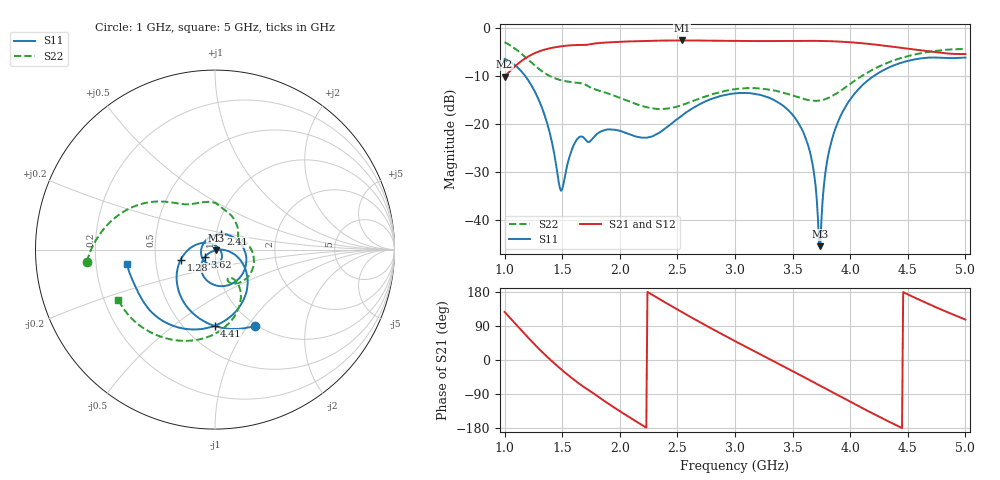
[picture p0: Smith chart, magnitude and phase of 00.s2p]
!Agilent Technologies,N5224A,MY51441093,A.09.90.21
!Agilent N5224A: A.09.90.21
!Date: Wednesday, October 01, 2025 16:35:27
!Correction: S11(Full 2 Port(1,2))
!S21(Full 2 Port(1,2))
!S12(Full 2 Port(1,2))
!S22(Full 2 Port(1,2))
!S2P File: Measurements: S11, S21, S12, S22:
# Hz S  dB  R 50
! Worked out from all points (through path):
!   401 points, 1 GHz to 5 GHz, reference 50 ohm
!   highest |S21| = -2.54 dB at 2.54 GHz (marker M1); lowest = -10.1 dB at 1 GHz (marker M2)
!   lowest |S11| = -45.4 dB at 3.74 GHz (marker M3), VSWR 1.01, Z = 50.4 - j0.376 ohm
!   |S11| at or under -10 dB: 1.181 GHz to 4.201 GHz (3.021 GHz wide, 112 % of centre)
!   |S22| runs from -16.8 to -2.9 dB; largest |S21 - S12| = 0.0035
!   S11 on the Smith chart (normalised r, x): 1 GHz: 0.98, -1.08; 1.28 GHz: 0.68, -0.08; 2.41 GHz: 1.05, +0.19; 3.62 GHz: 0.89, -0.07; 4.41 GHz: 0.69, -0.72; 5 GHz: 0.34, -0.07
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1e9  -6.40 -62.4  -10.10 126.8  -10.08 126.8  -2.88 -174.6
1.15e9  -9.08 -117.3  -6.75 76.9  -6.75 76.8  -5.39 155.6
1.28e9  -14.04 -163.8  -5.00 35.0  -5.00 35.0  -8.13 137.0
1.38e9  -20.67 158.5  -4.24 5.4  -4.24 5.3  -9.80 127.8
1.49e9  -33.84 52.4  -3.76 -24.4  -3.76 -24.4  -10.82 118.3
1.67e9  -22.55 -81.2  -3.50 -67.5  -3.49 -67.5  -11.47 95.3
1.94e9  -21.11 -129.8  -2.89 -123.2  -2.88 -123.2  -13.94 58.6
2.14e9  -22.54 169.3  -2.70 -161.9  -2.69 -161.9  -15.77 37.5
2.34e9  -21.80 92.3  -2.58 161.5  -2.57 161.5  -16.82 26.7
2.41e9  -20.57 68.9  -2.56 149.0  -2.55 149.1  -16.74 24.5
2.54e9  -18.18 33.5  -2.54 126.3  -2.53 126.3  -15.99 19.1
2.76e9  -15.05 -11.5  -2.58 89.0  -2.56 89.0  -14.05 2.2
3e9  -13.57 -52.1  -2.64 49.9  -2.62 49.9  -12.67 -22.7
3.31e9  -14.62 -99.6  -2.66 0.7  -2.64 0.7  -12.81 -54.1
3.62e9  -23.36 -144.7  -2.62 -48.6  -2.61 -48.6  -14.85 -67.3
3.67e9  -27.95 -149.2  -2.62 -56.6  -2.61 -56.7  -15.06 -65.6
3.74e9  -45.37 -43.8  -2.64 -68.0  -2.63 -68.0  -15.03 -62.2
3.8e9  -27.59 -0.7  -2.68 -77.7  -2.66 -77.8  -14.61 -59.3
3.9e9  -19.17 -13.5  -2.77 -93.9  -2.75 -94.0  -13.28 -56.2
4.34e9  -8.12 -79.8  -3.76 -163.3  -3.73 -163.5  -7.03 -84.8
4.41e9  -7.44 -90.3  -3.97 -173.7  -3.94 -173.9  -6.43 -91.9
5e9  -6.10 -170.5  -5.37 106.8  -5.36 106.6  -4.33 -152.3
